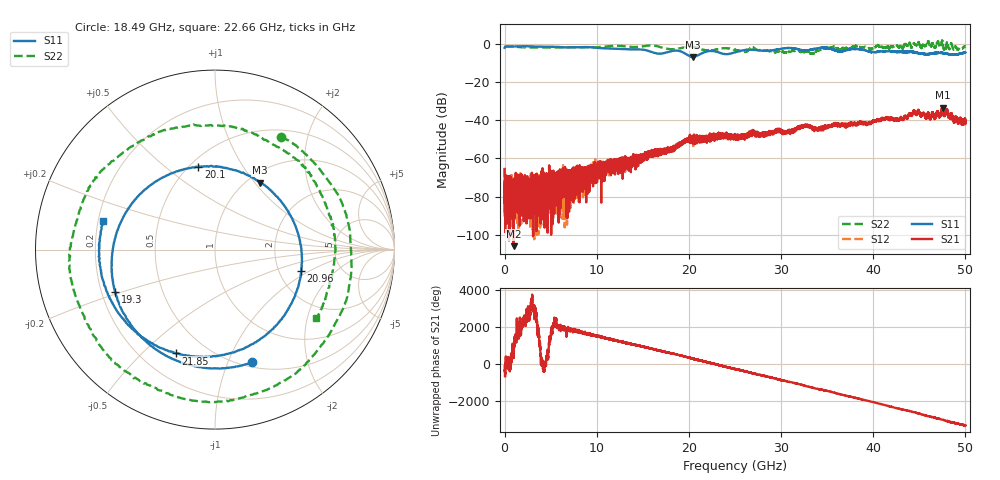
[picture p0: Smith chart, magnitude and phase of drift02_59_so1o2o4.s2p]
!Created with skrf (http://scikit-rf.org).
# Hz S RI R 50.0
!freq ReS11 ImS11 ReS21 ImS21 ReS12 ImS12 ReS22 ImS22
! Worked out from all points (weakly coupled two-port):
!   10001 points, 300 kHz to 50 GHz, reference 50 ohm
!   highest |S21| = -33.48 dB at 47.54 GHz (marker M1); lowest = -105.8 dB at 970.3 MHz (marker M2)
!   lowest |S11| = -6.9 dB at 20.43 GHz (marker M3), VSWR 2.63, Z = 56.9 + j53.2 ohm
!   |S11| at or under -10 dB: nowhere
!   |S22| runs from -5.3 to 1.7 dB; largest |S21 - S12| = 0.0032
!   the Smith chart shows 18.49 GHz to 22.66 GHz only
!   S11 on the Smith chart (normalised r, x): 18.49 GHz: 0.55, -1.23; 19.3 GHz: 0.26, -0.19; 20.1 GHz: 0.55, +0.66; 20.96 GHz: 2.66, -0.83; 21.85 GHz: 0.34, -0.64; 22.66 GHz: 0.22, +0.12
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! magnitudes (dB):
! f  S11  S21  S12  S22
! 300 kHz  -2.1  -65.8  -64.8  -1.3
! 255.3 MHz  -1.4  -80.9  -74.5  -1.4
! 970.3 MHz  -1.5  -105.8  -73.6  -1.5
! 5.485 GHz  -1.6  -69.8  -70.7  -2.0
! 8.335 GHz  -1.7  -66.8  -67.4  -1.9
! 16.67 GHz  -5.2  -57.1  -56.7  -1.4
! 18.49 GHz  -3.6  -55.1  -54.0  -2.8
! 19.3 GHz  -4.4  -52.0  -52.1  -2.1
! 20.1 GHz  -6.5  -49.4  -48.2  -1.5
! 20.43 GHz  -6.9  -50.0  -49.6  -1.7
! 20.96 GHz  -6.1  -48.6  -50.5  -2.2
! 21.85 GHz  -4.2  -49.5  -49.3  -3.4
! 22.66 GHz  -3.9  -50.3  -47.3  -3.3
! 25 GHz  -4.5  -49.5  -48.4  -3.2
! 26.11 GHz  -3.3  -49.3  -48.6  -4.3
! 26.9 GHz  -3.2  -46.6  -45.8  -1.6
! 33.34 GHz  -3.0  -43.8  -43.2  -5.2
! 34.89 GHz  -2.2  -43.0  -43.0  -2.2
! 41.67 GHz  -3.9  -39.4  -39.4  -2.1
! 44.64 GHz  -4.5  -37.2  -36.8  -0.6
! 47.54 GHz  -4.9  -33.5  -34.3  0.9
! 50 GHz  -4.6  -40.9  -40.2  -1.5
